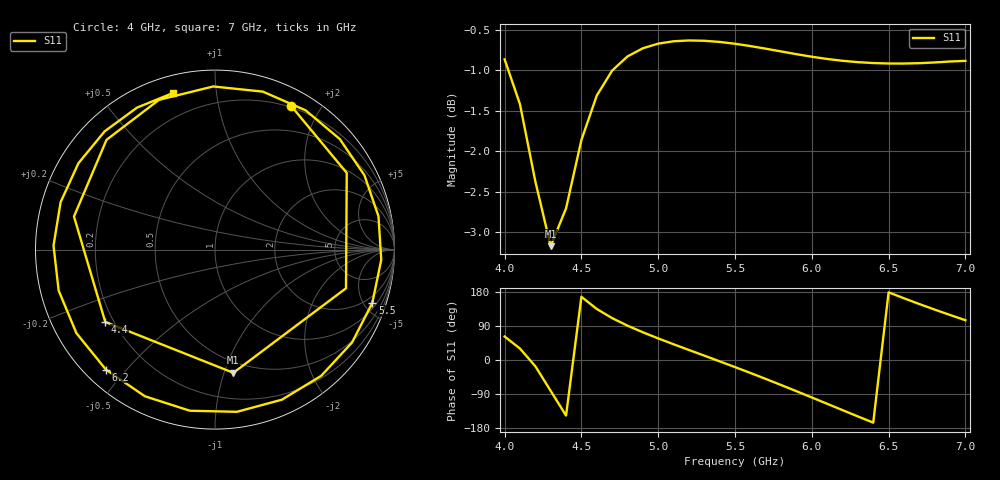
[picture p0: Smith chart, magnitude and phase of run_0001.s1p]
! Touchstone file exported from HFSS 2024.2.0
!  File:  C:/Users/wsak9/Desktop/Sim Fast/Widenad Patch/WP_AI_V1_sweep.aedt
!  Generated:  02:40:51 PM Oct 13, 2026
!  Design:  A1_model
!  Project:  WP_AI_V1_sweep
!  Setup:  Setup1
!  Solution:  Sweep
! Variables:
!  Air_gap = 2.4mm
!  Curve_Amp1 = 0.58
!  Curve_len1 = 1
!  Curve_pos = 13.055mm
!  Extra = 2.9mm
!  H_sub = 0.79mm
!  L_Patch = 22.11mm
!  L_Patch1 = 11.65mm
!  Sx = 2.56mm
!  Sy = 4.01mm
!  WS = 0.73mm
!  W_Patch = 12.98mm
!  W_Patch1 = 8.75mm
!Data is not renormalized
# GHz S MA
! Terminal data exported
! Port[1] = 1
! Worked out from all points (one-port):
!   31 points, 4 GHz to 7 GHz, reference per port
!   lowest |S11| = -3.2 dB at 4.3 GHz (marker M1), VSWR 5.54
!   |S11| at or under -10 dB: nowhere
!   S11 on the Smith chart (normalised r, x): 4 GHz: 0.19, +1.65; 4.4 GHz: 0.17, -0.29; 5.5 GHz: 1.38, -5.74; 6.2 GHz: 0.06, -0.44; 7 GHz: 0.08, +0.76
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4  0.9053 62.0
4.1  0.8493 30.2
4.2  0.761 -16.5
4.3  0.694 -81.5
4.4  0.7324 -146.6
4.5  0.8071 166.8
4.6  0.8598 134.7
4.7  0.8909 110.5
4.8  0.909 90.6
4.9  0.9196 73.1
5  0.9257 57.0
5.2  0.9299 26.5
5.3  0.9295 11.5
5.4  0.9279 -3.5
5.5  0.9255 -18.7
5.7  0.9191 -49.9
5.8  0.9155 -66.0
5.9  0.9119 -82.3
6  0.9086 -98.9
6.1  0.9057 -115.6
6.2  0.9034 -132.3
6.3  0.9016 -148.9
6.4  0.9005 -165.3
6.5  0.8999 178.6
6.6  0.8999 162.9
6.7  0.9003 147.7
6.9  0.9025 118.8
7  0.9033 105.0
